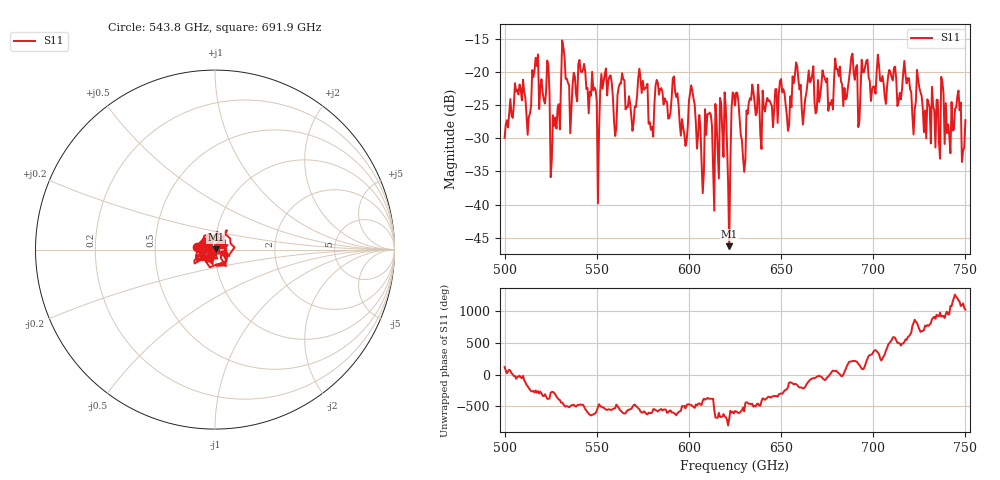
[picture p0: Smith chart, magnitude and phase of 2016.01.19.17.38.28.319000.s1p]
!Created with skrf (http://scikit-rf.org).
# GHz S RI R 50.0
!freq ReS11 ImS11
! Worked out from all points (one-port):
!   401 points, 500 GHz to 750 GHz, reference 50 ohm
!   lowest |S11| = -46.3 dB at 621.9 GHz (marker M1), VSWR 1.01, Z = 50.5 + j0.18 ohm
!   |S11| at or under -10 dB: start of sweep to end of sweep
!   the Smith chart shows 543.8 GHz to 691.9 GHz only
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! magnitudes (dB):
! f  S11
! 500 GHz  -29.9
! 506.9 GHz  -22.7
! 513.1 GHz  -26.8
! 516.9 GHz  -17.9
! 523.1 GHz  -18.3
! 526.2 GHz  -26.5
! 531.2 GHz  -15.3
! 541.9 GHz  -20.1
! 550.6 GHz  -39.8
! 553.8 GHz  -21.4
! 560 GHz  -29.7
! 562.5 GHz  -21.8
! 576.2 GHz  -22.5
! 579.4 GHz  -28.7
! 583.1 GHz  -21.6
! 593.8 GHz  -23.2
! 598.1 GHz  -31.2
! 601.9 GHz  -22.9
! 606.9 GHz  -33.7
! 618.1 GHz  -29.1
! 621.9 GHz  -46.3
! 625 GHz  -25.1
! 629.4 GHz  -33.0
! 633.8 GHz  -24.2
! 656.2 GHz  -20.7
! 687.5 GHz  -19.5
! 718.8 GHz  -20.9
! 750 GHz  -27.3
